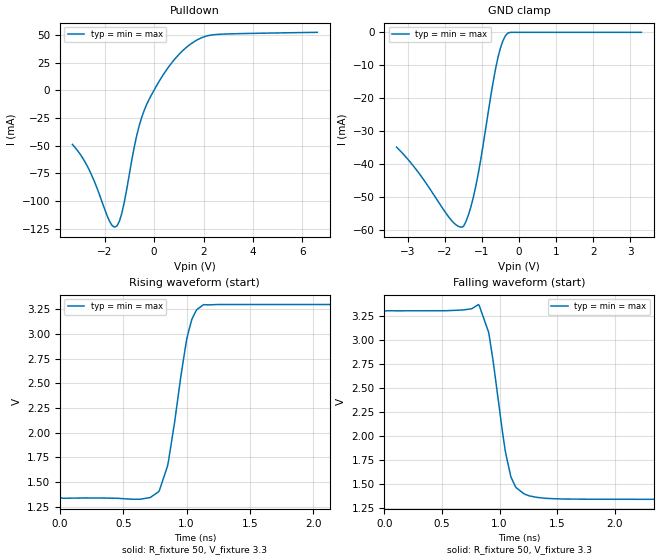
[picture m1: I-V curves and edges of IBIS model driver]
| IBIS file ex2_opendrain.ibs created by PYS2IBIS3
| Missouri S&T EMC Lab
[IBIS Ver] 7.1
[File Name] ex2_opendrain.ibs
[File Rev] 1.0
[Date] July 28, 2026
[Source] ex2 open-drain variant -- output pullup removed
[Notes] ex2 with the five output-stage pullup PMOS removed, so the pad has no
 path to VCC and is driven low only.
[Disclaimer] Experimental characterization for pybis observability study.
[Component] MCM Driver 1
[Manufacturer] MegaFLOPS Inc.
[Package]
| variable   typ   min   max
R_pkg 0 NA NA
L_pkg 0H NA NA
C_pkg 0F NA NA
[Pin]  signal_name   model_name   R_pin   L_pin   C_pin
vdd   vdd   POWER
gnd   gnd   GND
| in in dummy
out   out   driver
| End of Component
| Models and submodels in the file (1): driver (Open_drain)
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[Model] driver
Model_type Open_drain
Polarity Non-Inverting
Enable Active-Low
Vinl  = 0.8V
Vinh  = 2V
C_comp 5.0000pF 5.0000pF 5.0000pF
[Temperature Range] 27.0000 27.0000 27.0000
[Voltage Range] 3.3000V 3.3000V 3.3000V
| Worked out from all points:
|   slope of the pulldown table from 0 to 0.495 V, typ, clamps not added: 27.4 ohm
|   GND clamp passes 1 mA (typ) near -0.36 V on its own axis
|   rising waveform, R_fixture 50, V_fixture 3.3: 20-80 % time 137ps typ, 137ps min, 137ps max; typ from 1.34 V to 3.3 V
|   falling waveform, R_fixture 50, V_fixture 3.3: 20-80 % time 141ps typ, 141ps min, 141ps max; typ from 3.3 V to 1.34 V
[Pulldown]
| Voltage   I(typ)   I(min)   I(max)
-3.3V     -48.93mA   -48.93mA   -48.93mA
-2.7V     -68.42mA   -68.42mA   -68.42mA
-1.8V     -118.2mA   -118.2mA   -118.2mA
-1.6V     -123.6mA   -123.6mA   -123.6mA
-1.4V     -118.3mA   -118.3mA   -118.3mA
-1.3V     -110.9mA   -110.9mA   -110.9mA
-700mV    -40.92mA   -40.92mA   -40.92mA
-400mV    -18.31mA   -18.31mA   -18.31mA
300mV     11.47mA    11.47mA    11.47mA
1.1V      34.42mA    34.42mA    34.42mA
2.3V      49.75mA    49.75mA    49.75mA
6.6V      52.25mA    52.25mA    52.25mA
[GND Clamp]
| Voltage   I(typ)   I(min)   I(max)
-3.3V     -34.82mA   -34.82mA   -34.82mA
-2.7V     -42.69mA   -42.69mA   -42.69mA
-1.833V   -56.87mA   -56.87mA   -56.87mA
-1.5V     -58.92mA   -58.92mA   -58.92mA
-1.3V     -53.03mA   -53.03mA   -53.03mA
-1.167V   -46.75mA   -46.75mA   -46.75mA
-1.033V   -38.66mA   -38.66mA   -38.66mA
-700mV    -15.18mA   -15.18mA   -15.18mA
-566.7mV  -7.562mA   -7.562mA   -7.562mA
-433.3mV  -2.529mA   -2.529mA   -2.529mA
-300mV    -210uA     -210uA     -210uA
3.3V      806.1pA    806.1pA    806.1pA
[Ramp]
| variable   typ   min   max
dV/dt_r 1.1772/0.1363n 1.1772/0.1363n 1.1772/0.1363n
dV/dt_f 1.1772/0.1423n 1.1772/0.1423n 1.1772/0.1423n
R_load = 50
[Rising Waveform]
R_fixture = 50
V_fixture = 3.3
|time   V(typ)   V(min)   V(max)
0s        1.338V     1.338V     1.338V
624.6ps   1.326V     1.326V     1.326V
784.8ps   1.415V     1.415V     1.415V
856.9ps   1.716V     1.716V     1.716V
961ps     2.628V     2.628V     2.628V
1.009ns   2.994V     2.994V     2.994V
1.041ns   3.149V     3.149V     3.149V
1.073ns   3.233V     3.233V     3.233V
1.137ns   3.299V     3.299V     3.299V
8ns       3.3V       3.3V       3.3V
[Falling Waveform]
R_fixture = 50
V_fixture = 3.3
|time   V(typ)   V(min)   V(max)
0s        3.3V       3.3V       3.3V
672.7ps   3.307V     3.307V     3.307V
816.8ps   3.366V     3.366V     3.366V
904.9ps   3.078V     3.078V     3.078V
944.9ps   2.772V     2.772V     2.772V
1.049ns   1.846V     1.846V     1.846V
1.097ns   1.578V     1.578V     1.578V
1.145ns   1.458V     1.458V     1.458V
1.305ns   1.362V     1.362V     1.362V
8ns       1.338V     1.338V     1.338V
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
